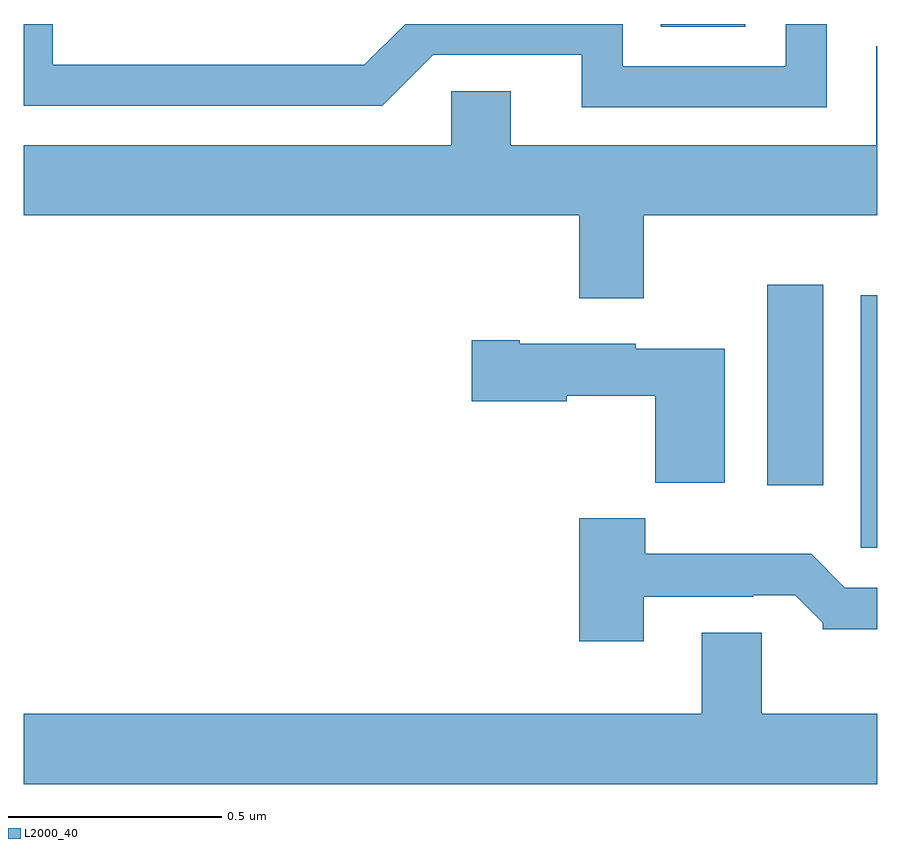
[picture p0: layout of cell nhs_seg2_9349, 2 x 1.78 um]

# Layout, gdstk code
import gdstk
lib = gdstk.Library(unit=1e-6, precision=1e-09)
def R(c, l, rs):  # rectangles x0, y0, x1, y1
    for r in rs: c.add(gdstk.rectangle(r[:2], r[2:], *l))
def P(c, l, *ps):  # polygons
    for p in ps: c.add(gdstk.Polygon(p, *l))
L2000_40 = (2000, 40)

nhs_seg2_9349 = lib.new_cell('nhs_seg2_9349')
R(nhs_seg2_9349, L2000_40, [(229.961,597.573,230,598.165), (229.742,597.72,229.873,598.189), (229.492,598.793,229.69,598.8)])
P(nhs_seg2_9349, L2000_40, [(229.881,598.8),(229.785,598.8),(229.785,598.701),(229.404,598.701),(229.404,598.8),(228.894,598.8),(228.798,598.704),(228.069,598.704),(228.069,598.8),(228,598.8),(228,598.608),(228.84,598.608),(228.96,598.728),(229.307,598.728),(229.307,598.605),(229.881,598.605)],
  [(229.453,598.352),(230,598.352),(230,598.748),(229.997,598.748),(229.997,598.516),(229.141,598.516),(229.141,598.643),(229.002,598.643),(229.002,598.516),(228,598.516),(228,598.352),(229.301,598.352),(229.301,598.158),(229.453,598.158)],
  [(229.642,598.039),(229.434,598.039),(229.434,598.051),(229.162,598.051),(229.162,598.059),(229.05,598.059),(229.05,597.917),(229.272,597.917),(229.272,597.929),(229.48,597.929),(229.48,597.725),(229.642,597.725)],
  [(229.453,597.459),(229.709,597.459),(229.709,597.462),(229.808,597.462),(229.872,597.398),(229.872,597.383),(230,597.383),(230,597.48),(229.923,597.48),(229.845,597.559),(229.456,597.559),(229.456,597.643),(229.301,597.643),(229.301,597.354),(229.453,597.354)],
  [(230,597.184),(229.729,597.184),(229.729,597.374),(229.589,597.374),(229.589,597.184),(228,597.184),(228,597.02),(230,597.02)])

lib.write_gds('nhs_seg2_9349.gds')
